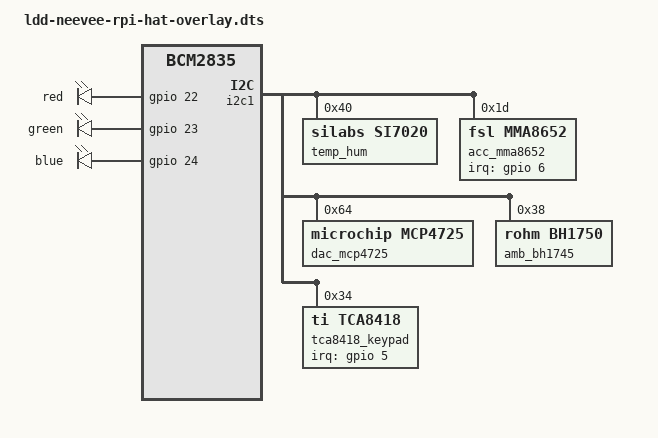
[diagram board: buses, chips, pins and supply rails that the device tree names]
/dts-v1/;
/plugin/;

/ {
	compatible = "brcm,bcm2835";
    
	fragment@0 {
		target-path = "/";
		__overlay__ {
			leds: leds {
				compatible = "gpio-leds";
                
				led0: led0-red {
					label = "red";
					gpios = <&gpio 22 0>;
					default-state = "on";
					linux,default-trigger = "none";
				};
                
				led1: led1-green {
					label = "green";
					gpios = <&gpio 23 0>;
					default-state = "on";
					linux,default-trigger = "none";
				};
                
				led2: led2-blue {
					label = "blue";
					gpios = <&gpio 24 0>;
					default-state = "on";
					linux,default-trigger = "none";
				};
			};
		};
	};

	fragment@1 {
		target = <&i2c1>;
		__overlay__ {
			#address-cells = <1>;
			#size-cells = <0>;

			temp_hum: temp-hum@40 {
				compatible = "silabs,si7020";
				reg = <0x40>;
				status = "okay";
			};

			acc_mma8652: acc-mma8652@1d {
				compatible = "fsl,mma8652";
				reg = <0x1d>;
				interrupt-parent = <&gpio>;
                                interrupts = <6 2>;
                                status = "okay";
			};
                                
			dac_mcp4725: dac-mcp4725@64 {
                                compatible = "microchip,mcp4725";
                                reg = <0x64>;
                                status = "okay";
        		};
        		
			amb_bh1745: bh1745@38 {
                                compatible = "rohm,bh1750";
                                reg = <0x38>;
                                status = "okay";
                        };
                        
                        tca8418_keypad: tca8418_keypad@34 {
                                compatible = "ti,tca8418";
                                reg = <0x34>;
                                interrupt-parent = <&gpio>;
                                interrupts = <5 4>;
                                keypad,num-rows = <4>;
                                keypad,num-columns = <4>;
                                linux,keymap = <
                                        0x00000031 
                                        0x00010032 
                                        0x00020033 
                                        0x00030041 
                                        0x01000034 
                                        0x01010035 
                                        0x01020036 
                                        0x01030042 
                                        0x02000037 
                                        0x02010038 
                                        0x02020039 
                                        0x02030043 
                                        0x0300002A 
                                        0x03010030 
                                        0x03020023 
                                        0x03030044 
                                        >;
                                status = "okay";
                        };
    		};
	};
};
